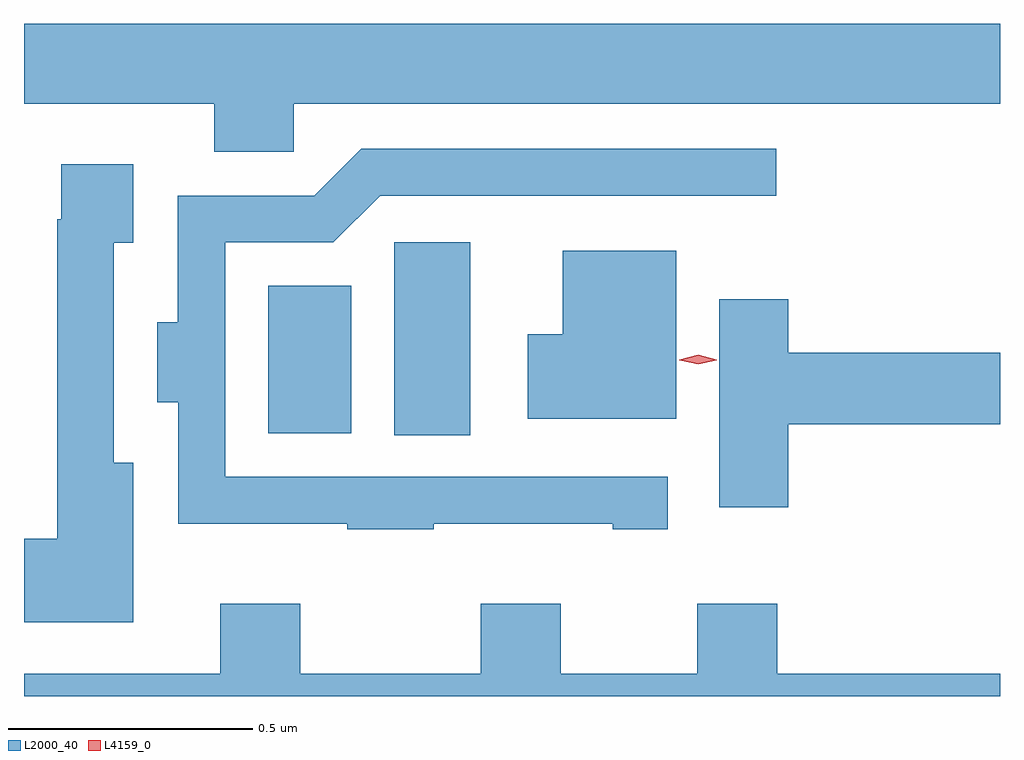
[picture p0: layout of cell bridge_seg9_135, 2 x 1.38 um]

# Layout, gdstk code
import gdstk
lib = gdstk.Library(unit=1e-6, precision=1e-09)
def R(c, l, rs):  # rectangles x0, y0, x1, y1
    for r in rs: c.add(gdstk.rectangle(r[:2], r[2:], *l))
def P(c, l, *ps):  # polygons
    for p in ps: c.add(gdstk.Polygon(p, *l))
L2000_40 = (2000, 40)
L4159_0 = (4159, 0)

bridge_seg9_135 = lib.new_cell('bridge_seg9_135')
R(bridge_seg9_135, L2000_40, [(498.584,1226.377,498.739,1226.772), (498.326,1226.381,498.496,1226.683)])
P(bridge_seg9_135, L2000_40, [(498.378,1227.056),(499.825,1227.056),(499.825,1227.22),(497.825,1227.22),(497.825,1227.056),(498.215,1227.056),(498.215,1226.958),(498.378,1226.958)],
  [(498.665,1226.195),(499.031,1226.195),(499.031,1226.184),(499.144,1226.184),(499.144,1226.292),(498.237,1226.292),(498.237,1226.772),(498.459,1226.772),(498.555,1226.868),(499.366,1226.868),(499.366,1226.964),(498.516,1226.964),(498.42,1226.868),(498.14,1226.868),(498.14,1226.608),(498.098,1226.608),(498.098,1226.444),(498.141,1226.444),(498.141,1226.195),(498.487,1226.195),(498.487,1226.184),(498.665,1226.184)],
  [(498.049,1226.32),(498.009,1226.32),(498.009,1226.771),(498.049,1226.771),(498.049,1226.932),(497.901,1226.932),(497.901,1226.819),(497.893,1226.819),(497.893,1226.165),(497.825,1226.165),(497.825,1225.994),(498.049,1225.994)],
  [(499.162,1226.755),(498.929,1226.755),(498.929,1226.584),(498.857,1226.584),(498.857,1226.411),(499.162,1226.411)],
  [(499.391,1226.399),(499.825,1226.399),(499.825,1226.546),(499.391,1226.546),(499.391,1226.656),(499.25,1226.656),(499.25,1226.229),(499.391,1226.229)],
  [(499.825,1225.888),(499.369,1225.888),(499.369,1226.032),(499.205,1226.032),(499.205,1225.888),(498.925,1225.888),(498.925,1226.032),(498.761,1226.032),(498.761,1225.888),(498.391,1225.888),(498.391,1226.032),(498.227,1226.032),(498.227,1225.888),(497.825,1225.888),(497.825,1225.842),(499.825,1225.842)])
P(bridge_seg9_135, L4159_0, [(499.207,1226.522),(499.168,1226.531),(499.168,1226.532),(499.168,1226.532),(499.207,1226.542),(499.245,1226.532),(499.245,1226.532),(499.245,1226.531)])

lib.write_gds('bridge_seg9_135.gds')
